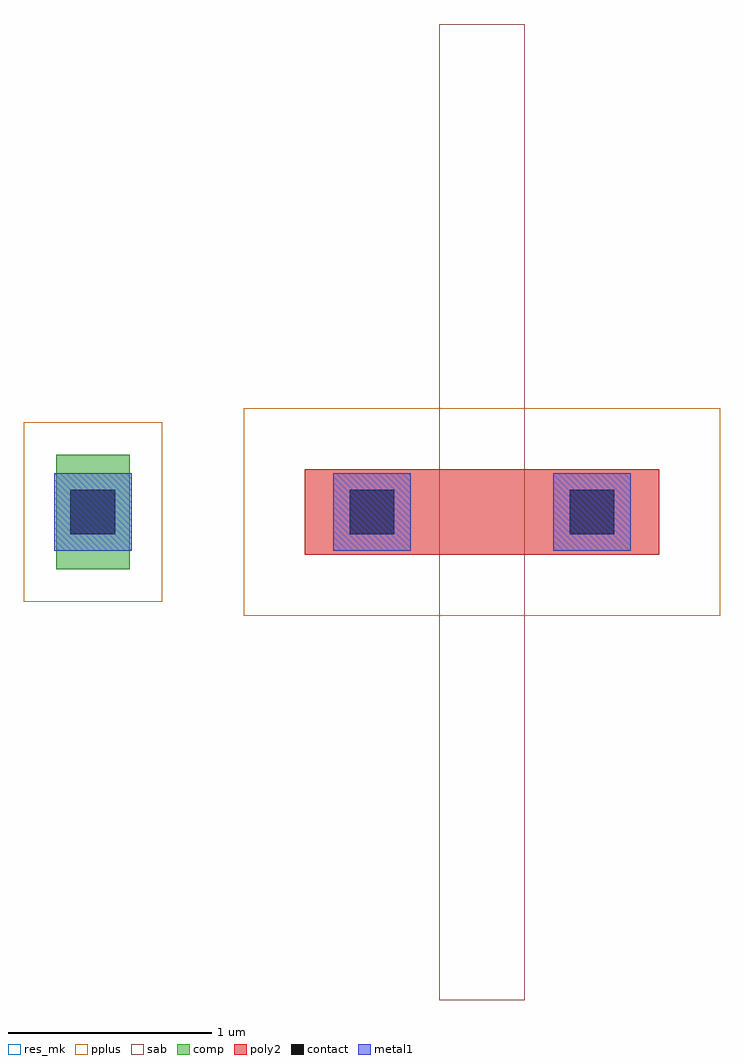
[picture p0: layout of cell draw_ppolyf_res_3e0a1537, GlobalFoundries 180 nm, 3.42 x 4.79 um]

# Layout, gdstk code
import gdstk
lib = gdstk.Library(unit=1e-6, precision=1e-09)
def R(c, l, rs):  # rectangles x0, y0, x1, y1
    for r in rs: c.add(gdstk.rectangle(r[:2], r[2:], *l))
comp = (22, 0)
poly2 = (30, 0)
pplus = (31, 0)
contact = (33, 0)
metal1 = (34, 0)
sab = (49, 0)
res_mk = (110, 5)

draw_ppolyf_res_3e0a1537 = lib.new_cell('draw_ppolyf_res_3e0a1537')
R(draw_ppolyf_res_3e0a1537, comp, [(-1.88,-0.07,-1.52,0.49)])
R(draw_ppolyf_res_3e0a1537, poly2, [(-0.66,0,1.08,0.42)])
R(draw_ppolyf_res_3e0a1537, pplus, [(-0.96,-0.3,1.38,0.72), (-2.04,-0.23,-1.36,0.65)])
R(draw_ppolyf_res_3e0a1537, contact, [(-1.81,0.1,-1.59,0.32), (-0.44,0.1,-0.22,0.32), (0.64,0.1,0.86,0.32)])
R(draw_ppolyf_res_3e0a1537, metal1, [(-1.89,0.02,-1.51,0.4), (-0.52,0.02,-0.14,0.4), (0.56,0.02,0.94,0.4)])
R(draw_ppolyf_res_3e0a1537, sab, [(0,-2.185,0.42,2.605)])
R(draw_ppolyf_res_3e0a1537, res_mk, [(0,0,0.42,0.42)])

lib.write_gds('draw_ppolyf_res_3e0a1537.gds')
